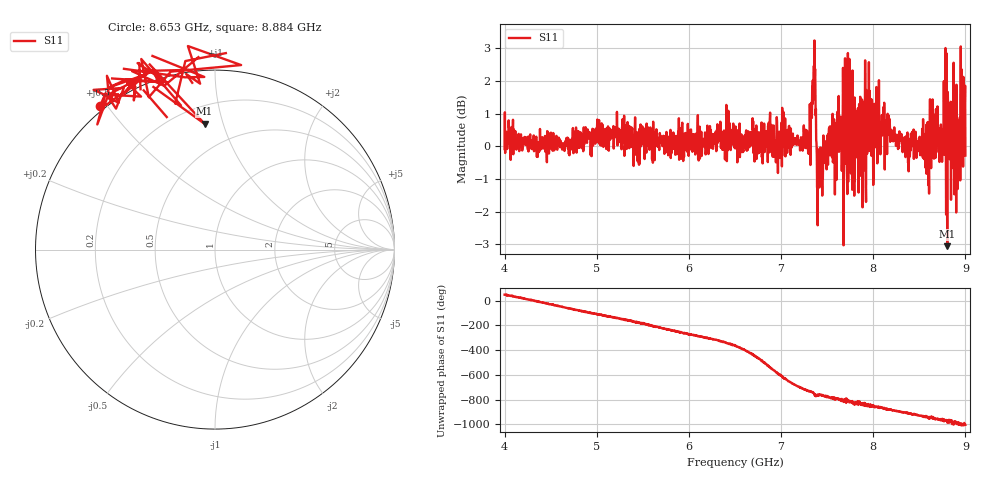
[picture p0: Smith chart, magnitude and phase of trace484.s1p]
! Created with skrf 1.8.0 (http://scikit-rf.org).
# Hz S RI R 50.0
!freq ReS11 ImS11
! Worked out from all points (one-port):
!   1601 points, 4 GHz to 9 GHz, reference 50 ohm
!   lowest |S11| = -3.1 dB at 8.803 GHz (marker M1), VSWR 5.74, Z = 15.7 + j43.5 ohm
!   |S11| at or under -10 dB: nowhere
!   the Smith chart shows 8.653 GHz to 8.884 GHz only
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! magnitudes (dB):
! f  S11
! 4 GHz  -0.1
! 4.625 GHz  -0.1
! 5.25 GHz  0.2
! 5.875 GHz  0.0
! 6.5 GHz  0.0
! 7.125 GHz  0.2
! 7.294 GHz  -0.2
! 7.353 GHz  1.9
! 7.4 GHz  -0.5
! 7.422 GHz  -0.8
! 7.509 GHz  -0.6
! 7.578 GHz  0.0
! 7.65 GHz  0.5
! 7.703 GHz  -0.2
! 7.716 GHz  -0.9
! 7.75 GHz  0.1
! 7.769 GHz  -0.3
! 7.897 GHz  -0.2
! 7.962 GHz  1.7
! 7.981 GHz  0.3
! 8.097 GHz  0.3
! 8.375 GHz  0.2
! 8.522 GHz  0.1
! 8.581 GHz  -0.6
! 8.803 GHz  -3.1
! 8.919 GHz  -0.7
! 8.972 GHz  0.4
! 9 GHz  -0.3
